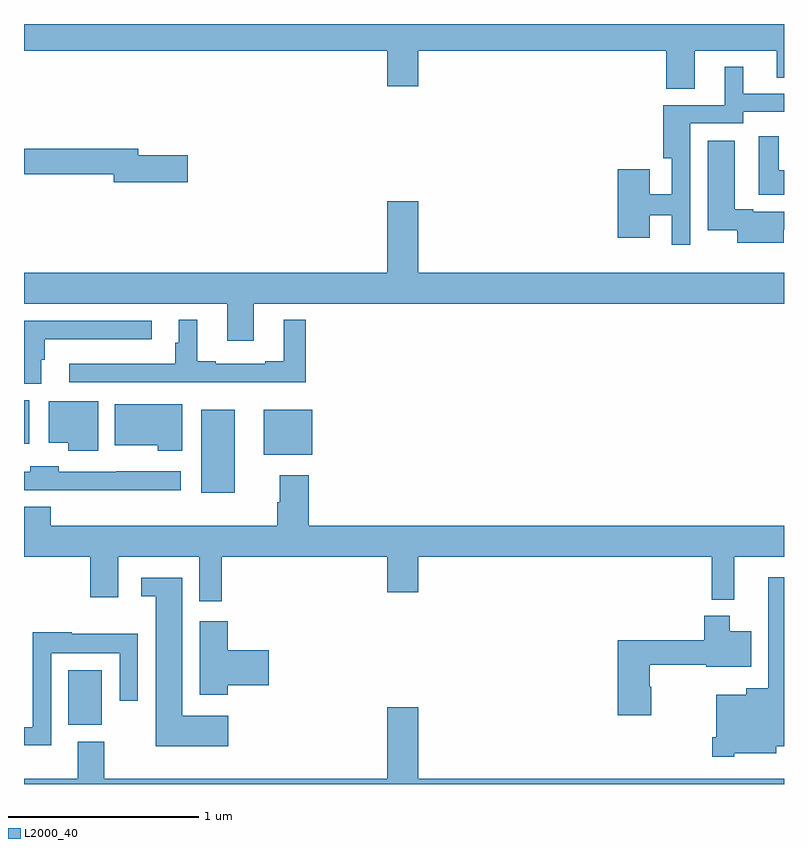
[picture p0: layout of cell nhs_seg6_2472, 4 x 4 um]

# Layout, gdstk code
import gdstk
lib = gdstk.Library(unit=1e-6, precision=1e-09)
def R(c, l, rs):  # rectangles x0, y0, x1, y1
    for r in rs: c.add(gdstk.rectangle(r[:2], r[2:], *l))
def P(c, l, *ps):  # polygons
    for p in ps: c.add(gdstk.Polygon(p, *l))
L2000_40 = (2000, 40)

nhs_seg6_2472 = lib.new_cell('nhs_seg6_2472')
R(nhs_seg6_2472, L2000_40, [(259.232,919.811,259.408,920.098), (259.934,921.032,260.11,921.469), (260.261,921.233,260.518,921.469), (259,921.29,259.027,921.52)])
P(nhs_seg6_2472, L2000_40, [(262.531,923.36),(262.961,923.36),(262.961,923.218),(263,923.218),(263,923.5),(259,923.5),(259,923.36),(260.912,923.36),(260.912,923.172),(261.076,923.172),(261.076,923.36),(262.379,923.36),(262.379,923.158),(262.531,923.158)],
  [(262.506,922.977),(262.785,922.977),(262.785,923.037),(263,923.037),(263,923.133),(262.786,923.133),(262.786,923.275),(262.688,923.275),(262.688,923.073),(262.364,923.073),(262.364,922.793),(262.41,922.793),(262.41,922.604),(262.294,922.604),(262.294,922.735),(262.124,922.735),(262.124,922.374),(262.294,922.374),(262.294,922.494),(262.41,922.494),(262.41,922.338),(262.506,922.338)],
  [(263,922.729),(262.972,922.729),(262.972,922.909),(262.868,922.909),(262.868,922.601),(263,922.601)],
  [(262.999,922.416),(263,922.416),(263,922.512),(262.837,922.512),(262.837,922.525),(262.741,922.525),(262.741,922.885),(262.598,922.885),(262.598,922.414),(262.754,922.414),(262.754,922.349),(262.999,922.349)],
  [(259.861,922.808),(259.6,922.808),(259.6,922.844),(259,922.844),(259,922.708),(259.472,922.708),(259.472,922.666),(259.861,922.666)],
  [(260.209,922.028),(263,922.028),(263,922.192),(261.076,922.192),(261.076,922.567),(260.912,922.567),(260.912,922.192),(259,922.192),(259,922.028),(260.069,922.028),(260.069,921.834),(260.209,921.834)],
  [(260.483,921.943),(260.366,921.943),(260.366,921.724),(260.27,921.724),(260.27,921.711),(260.008,921.711),(260.008,921.724),(259.912,921.724),(259.912,921.943),(259.814,921.943),(259.814,921.822),(259.795,921.822),(259.795,921.712),(259.239,921.712),(259.239,921.615),(259.938,921.615),(259.938,921.614),(260.483,921.614)],
  [(259.09,921.732),(259.109,921.732),(259.109,921.842),(259.672,921.842),(259.672,921.939),(259,921.939),(259,921.606),(259.09,921.606)],
  [(259.39,921.514),(259.13,921.514),(259.13,921.296),(259.233,921.296),(259.233,921.254),(259.39,921.254)],
  [(259.834,921.499),(259.478,921.499),(259.478,921.284),(259.705,921.284),(259.705,921.254),(259.834,921.254)],
  [(259.825,921.145),(259.486,921.145),(259.486,921.144),(259.182,921.144),(259.182,921.172),(259.032,921.172),(259.032,921.144),(259,921.144),(259,921.047),(259.825,921.047)],
  [(260.041,920.696),(260.912,920.696),(260.912,920.508),(261.076,920.508),(261.076,920.696),(262.621,920.696),(262.621,920.471),(262.739,920.471),(262.739,920.696),(263,920.696),(263,920.86),(260.498,920.86),(260.498,921.124),(260.345,921.124),(260.345,920.984),(260.333,920.984),(260.333,920.86),(259.142,920.86),(259.142,920.959),(259,920.959),(259,920.696),(259.348,920.696),(259.348,920.484),(259.495,920.484),(259.495,920.696),(259.922,920.696),(259.922,920.463),(260.041,920.463)],
  [(262.737,919.661),(262.96,919.661),(262.96,919.7),(263,919.7),(263,920.587),(262.917,920.587),(262.917,920.005),(262.802,920.005),(262.802,919.969),(262.643,919.969),(262.643,919.747),(262.622,919.747),(262.622,919.643),(262.737,919.643)],
  [(260.074,919.858),(259.834,919.858),(259.834,920.586),(259.617,920.586),(259.617,920.489),(259.694,920.489),(259.694,919.7),(260.074,919.7)],
  [(262.302,920.013),(262.294,920.013),(262.294,920.128),(262.592,920.128),(262.592,920.117),(262.828,920.117),(262.828,920.305),(262.714,920.305),(262.714,920.386),(262.58,920.386),(262.58,920.257),(262.124,920.257),(262.124,919.863),(262.302,919.863)],
  [(260.072,920.021),(260.287,920.021),(260.287,920.204),(260.072,920.204),(260.072,920.356),(259.925,920.356),(259.925,919.971),(260.072,919.971)],
  [(259.143,920.189),(259.503,920.189),(259.503,919.938),(259.599,919.938),(259.599,920.29),(259.25,920.29),(259.25,920.3),(259.047,920.3),(259.047,919.8),(259,919.8),(259,919.703),(259.143,919.703)],
  [(263,919.528),(261.076,919.528),(261.076,919.903),(260.912,919.903),(260.912,919.528),(259.423,919.528),(259.423,919.723),(259.283,919.723),(259.283,919.528),(259,919.528),(259,919.5),(263,919.5)])

lib.write_gds('nhs_seg6_2472.gds')
